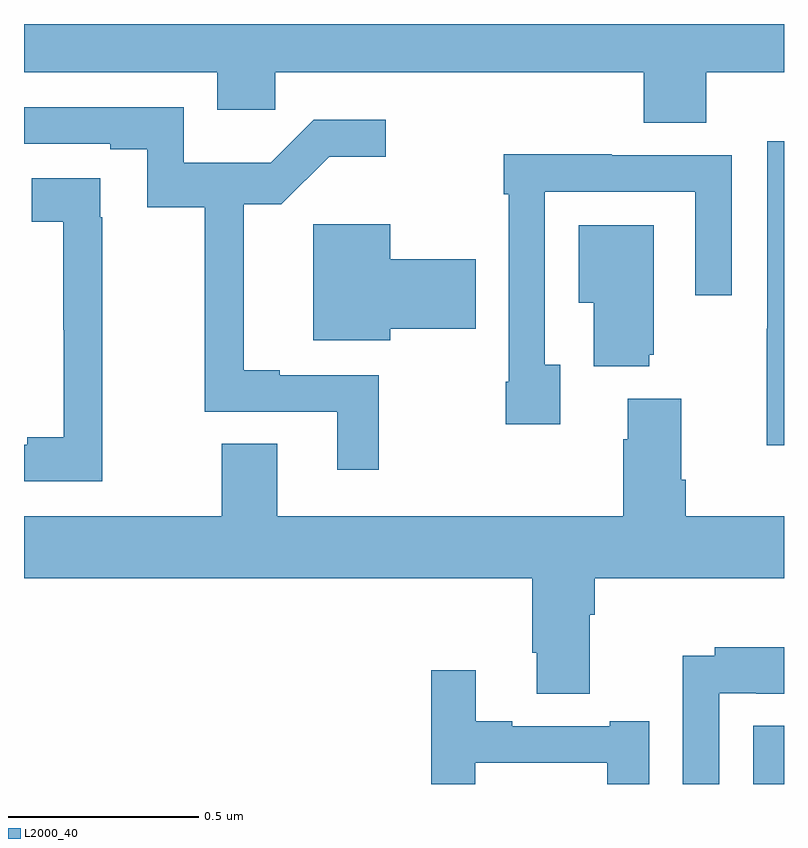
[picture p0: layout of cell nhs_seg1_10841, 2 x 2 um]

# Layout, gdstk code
import gdstk
lib = gdstk.Library(unit=1e-6, precision=1e-09)
def R(c, l, rs):  # rectangles x0, y0, x1, y1
    for r in rs: c.add(gdstk.rectangle(r[:2], r[2:], *l))
def P(c, l, *ps):  # polygons
    for p in ps: c.add(gdstk.Polygon(p, *l))
L2000_40 = (2000, 40)

nhs_seg1_10841 = lib.new_cell('nhs_seg1_10841')
R(nhs_seg1_10841, L2000_40, [(247.919,543.199,248,543.352)])
P(nhs_seg1_10841, L2000_40, [(247.796,545.072),(248,545.072),(248,545.199),(246,545.199),(246,545.072),(246.509,545.072),(246.509,544.974),(246.661,544.974),(246.661,545.072),(247.631,545.072),(247.631,544.939),(247.796,544.939)],
  [(246.934,544.275),(246.673,544.275),(246.673,544.288),(246.578,544.288),(246.578,544.725),(246.677,544.725),(246.803,544.85),(246.952,544.85),(246.952,544.947),(246.762,544.947),(246.649,544.834),(246.42,544.834),(246.42,544.98),(246,544.98),(246,544.884),(246.227,544.884),(246.227,544.87),(246.324,544.87),(246.324,544.717),(246.475,544.717),(246.475,544.179),(246.824,544.179),(246.824,544.026),(246.934,544.026)],
  [(248,544.891),(247.956,544.891),(247.956,544.397),(247.954,544.397),(247.954,544.091),(248,544.091)],
  [(247.411,544.302),(247.371,544.302),(247.371,544.758),(247.767,544.758),(247.767,544.485),(247.863,544.485),(247.863,544.854),(247.547,544.854),(247.547,544.856),(247.263,544.856),(247.263,544.751),(247.275,544.751),(247.275,544.258),(247.268,544.258),(247.268,544.146),(247.411,544.146)],
  [(246.206,544.691),(246.2,544.691),(246.2,544.793),(246.021,544.793),(246.021,544.678),(246.103,544.678),(246.103,544.395),(246.104,544.395),(246.104,544.112),(246.008,544.112),(246.008,544.092),(246,544.092),(246,543.996),(246.206,543.996)],
  [(246.964,544.397),(247.189,544.397),(247.189,544.58),(246.964,544.58),(246.964,544.672),(246.761,544.672),(246.761,544.367),(246.964,544.367)],
  [(247.646,544.329),(247.657,544.329),(247.657,544.669),(247.46,544.669),(247.46,544.466),(247.499,544.466),(247.499,544.298),(247.646,544.298)],
  [(247.337,543.544),(247.349,543.544),(247.349,543.436),(247.489,543.436),(247.489,543.644),(247.502,543.644),(247.502,543.74),(248,543.74),(248,543.904),(247.742,543.904),(247.742,544),(247.729,544),(247.729,544.213),(247.589,544.213),(247.589,544.106),(247.577,544.106),(247.577,543.904),(246.667,543.904),(246.667,544.094),(246.52,544.094),(246.52,543.904),(246,543.904),(246,543.74),(247.337,543.74)],
  [(247.83,543.438),(247.927,543.438),(247.927,543.437),(248,543.437),(248,543.559),(247.818,543.559),(247.818,543.536),(247.734,543.536),(247.734,543.199),(247.83,543.199)],
  [(247.188,543.255),(247.535,543.255),(247.535,543.199),(247.645,543.199),(247.645,543.364),(247.541,543.364),(247.541,543.351),(247.285,543.351),(247.285,543.364),(247.189,543.364),(247.189,543.499),(247.072,543.499),(247.072,543.199),(247.188,543.199)])

lib.write_gds('nhs_seg1_10841.gds')
